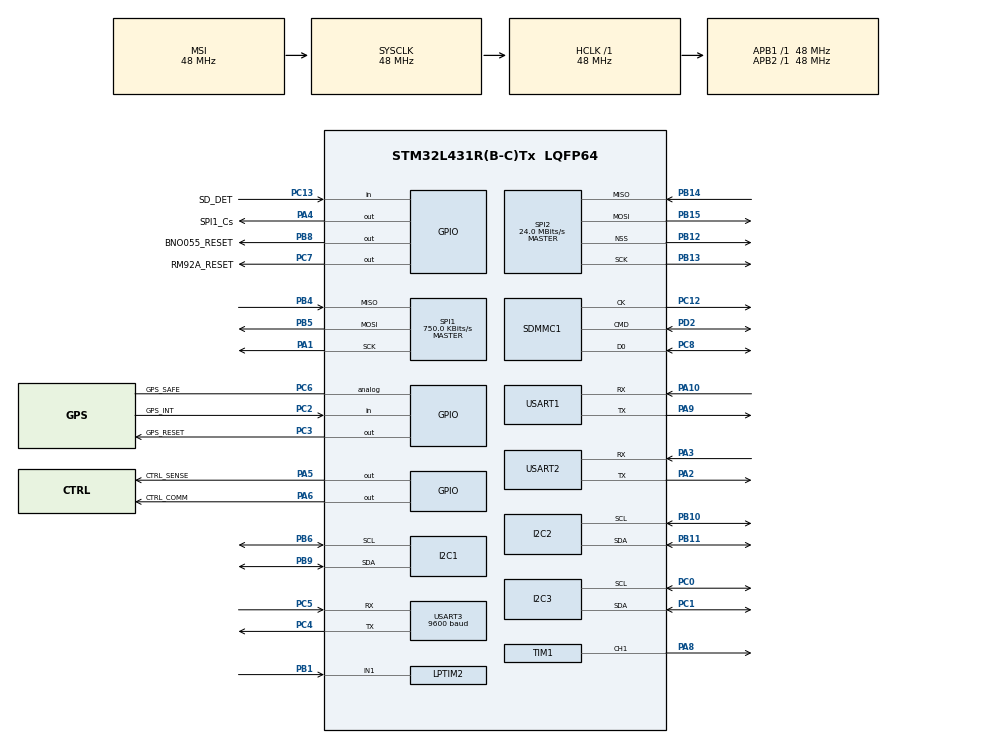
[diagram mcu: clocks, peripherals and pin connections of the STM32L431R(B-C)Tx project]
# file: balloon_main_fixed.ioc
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Dma.I2C1_RX.2.Direction=DMA_PERIPH_TO_MEMORY
Dma.I2C1_RX.2.Instance=DMA1_Channel7
Dma.I2C1_RX.2.MemDataAlignment=DMA_MDATAALIGN_BYTE
Dma.I2C1_RX.2.MemInc=DMA_MINC_ENABLE
Dma.I2C1_RX.2.Mode=DMA_NORMAL
Dma.I2C1_RX.2.PeriphDataAlignment=DMA_PDATAALIGN_BYTE
Dma.I2C1_RX.2.PeriphInc=DMA_PINC_DISABLE
Dma.I2C1_RX.2.Priority=DMA_PRIORITY_LOW
Dma.I2C1_TX.3.Direction=DMA_MEMORY_TO_PERIPH
Dma.I2C1_TX.3.Instance=DMA1_Channel6
Dma.I2C1_TX.3.MemDataAlignment=DMA_MDATAALIGN_BYTE
Dma.I2C1_TX.3.MemInc=DMA_MINC_ENABLE
Dma.I2C1_TX.3.Mode=DMA_NORMAL
Dma.I2C1_TX.3.PeriphDataAlignment=DMA_PDATAALIGN_BYTE
Dma.I2C1_TX.3.PeriphInc=DMA_PINC_DISABLE
Dma.I2C1_TX.3.Priority=DMA_PRIORITY_LOW
Dma.Request0=USART1_RX
Dma.Request1=USART1_TX
Dma.Request2=I2C1_RX
Dma.Request3=I2C1_TX
Dma.Request4=TIM1_CH1
Dma.Request5=USART3_RX
Dma.TIM1_CH1.4.Direction=DMA_MEMORY_TO_PERIPH
Dma.TIM1_CH1.4.Instance=DMA1_Channel2
Dma.TIM1_CH1.4.MemDataAlignment=DMA_MDATAALIGN_WORD
Dma.TIM1_CH1.4.MemInc=DMA_MINC_ENABLE
Dma.TIM1_CH1.4.Mode=DMA_CIRCULAR
Dma.TIM1_CH1.4.PeriphDataAlignment=DMA_PDATAALIGN_WORD
Dma.TIM1_CH1.4.PeriphInc=DMA_PINC_DISABLE
Dma.TIM1_CH1.4.Priority=DMA_PRIORITY_LOW
Dma.USART1_RX.0.Direction=DMA_PERIPH_TO_MEMORY
Dma.USART1_RX.0.Instance=DMA1_Channel5
Dma.USART1_RX.0.MemDataAlignment=DMA_MDATAALIGN_BYTE
Dma.USART1_RX.0.MemInc=DMA_MINC_ENABLE
Dma.USART1_RX.0.Mode=DMA_NORMAL
Dma.USART1_RX.0.PeriphDataAlignment=DMA_PDATAALIGN_BYTE
Dma.USART1_RX.0.PeriphInc=DMA_PINC_DISABLE
Dma.USART1_RX.0.Priority=DMA_PRIORITY_LOW
Dma.USART1_TX.1.Direction=DMA_MEMORY_TO_PERIPH
Dma.USART1_TX.1.Instance=DMA1_Channel4
Dma.USART1_TX.1.MemDataAlignment=DMA_MDATAALIGN_BYTE
Dma.USART1_TX.1.MemInc=DMA_MINC_ENABLE
Dma.USART1_TX.1.Mode=DMA_NORMAL
Dma.USART1_TX.1.PeriphDataAlignment=DMA_PDATAALIGN_BYTE
Dma.USART1_TX.1.PeriphInc=DMA_PINC_DISABLE
Dma.USART1_TX.1.Priority=DMA_PRIORITY_LOW
Dma.USART3_RX.5.Direction=DMA_PERIPH_TO_MEMORY
Dma.USART3_RX.5.Instance=DMA1_Channel3
Dma.USART3_RX.5.MemDataAlignment=DMA_MDATAALIGN_BYTE
Dma.USART3_RX.5.MemInc=DMA_MINC_ENABLE
Dma.USART3_RX.5.Mode=DMA_NORMAL
Dma.USART3_RX.5.PeriphDataAlignment=DMA_PDATAALIGN_BYTE
Dma.USART3_RX.5.PeriphInc=DMA_PINC_DISABLE
Dma.USART3_RX.5.Priority=DMA_PRIORITY_LOW
FATFS._MAX_SS=4096
I2C1.Timing=0x10805D88
I2C2.Timing=0x10805D88
I2C3.Timing=0x10805D88
Mcu.Family=STM32L4
Mcu.Name=STM32L431R(B-C)Tx
Mcu.Package=LQFP64
NVIC.DMA1_Channel2_IRQn=true\:0\:0\:false\:false\:true\:false\:true\:true
NVIC.DMA1_Channel3_IRQn=true\:0\:0\:false\:false\:true\:false\:true\:true
NVIC.DMA1_Channel4_IRQn=true\:0\:0\:false\:false\:true\:false\:true\:true
NVIC.DMA1_Channel5_IRQn=true\:0\:0\:false\:false\:true\:false\:true\:true
NVIC.DMA1_Channel6_IRQn=true\:0\:0\:false\:false\:true\:false\:true\:true
NVIC.DMA1_Channel7_IRQn=true\:0\:0\:false\:false\:true\:false\:true\:true
NVIC.I2C1_ER_IRQn=true\:0\:0\:false\:false\:true\:true\:true\:true
NVIC.PriorityGroup=NVIC_PRIORITYGROUP_4
NVIC.SDMMC1_IRQn=true\:5\:0\:true\:false\:true\:true\:true\:true
NVIC.TIM6_DAC_IRQn=true\:15\:0\:false\:false\:true\:false\:true\:true
NVIC.TimeBase=TIM6_DAC_IRQn
NVIC.TimeBaseIP=TIM6
NVIC.USART1_IRQn=true\:0\:0\:false\:false\:true\:true\:true\:true
NVIC.USART2_IRQn=true\:0\:0\:false\:false\:true\:true\:true\:true
NVIC.USART3_IRQn=true\:0\:0\:false\:false\:true\:true\:true\:true
PA1.GPIO_PuPd=GPIO_PULLUP
PA1.Mode=Full_Duplex_Master
PA1.Signal=SPI1_SCK
PA10.Mode=Asynchronous
PA10.Signal=USART1_RX
PA11.Signal=USART1_CTS
PA12.Signal=USART1_RTS
PA13\ (JTMS-SWDIO).Mode=Trace_Asynchronous_SW
PA13\ (JTMS-SWDIO).Signal=SYS_JTMS-SWDIO
PA14\ (JTCK-SWCLK).Mode=Trace_Asynchronous_SW
PA14\ (JTCK-SWCLK).Signal=SYS_JTCK-SWCLK
PA2.Mode=Asynchronous
PA2.Signal=USART2_TX
PA3.Mode=Asynchronous
PA3.Signal=USART2_RX
PA4.GPIO_Label=SPI1_Cs
PA4.Signal=GPIO_Output
PA5.GPIO_Label=CTRL_SENSE
PA5.Signal=GPIO_Output
PA6.GPIO_Label=CTRL_COMM
PA6.Signal=GPIO_Output
PA8.GPIO_Speed=GPIO_SPEED_FREQ_VERY_HIGH
PA8.Signal=S_TIM1_CH1
PA9.Mode=Asynchronous
PA9.Signal=USART1_TX
PB1.Mode=Counts_external_clock_standalone_1X_occur1
PB1.Signal=LPTIM2_IN1
PB10.Mode=I2C
PB10.Signal=I2C2_SCL
PB11.Mode=I2C
PB11.Signal=I2C2_SDA
PB12.Mode=NSS_Signal_Hard_Output
PB12.Signal=SPI2_NSS
PB13.Mode=Full_Duplex_Master
PB13.Signal=SPI2_SCK
PB14.Mode=Full_Duplex_Master
PB14.Signal=SPI2_MISO
PB15.Mode=Full_Duplex_Master
PB15.Signal=SPI2_MOSI
PB3\ (JTDO-TRACESWO).Mode=Trace_Asynchronous_SW
PB3\ (JTDO-TRACESWO).Signal=SYS_JTDO-SWO
PB4\ (NJTRST).GPIO_PuPd=GPIO_PULLUP
PB4\ (NJTRST).Mode=Full_Duplex_Master
PB4\ (NJTRST).Signal=SPI1_MISO
PB5.GPIO_PuPd=GPIO_PULLUP
PB5.Mode=Full_Duplex_Master
PB5.Signal=SPI1_MOSI
PB6.Mode=I2C
PB6.Signal=I2C1_SCL
PB8.GPIO_Label=BNO055_RESET
PB8.Signal=GPIO_Output
PB9.Mode=I2C
PB9.Signal=I2C1_SDA
PC0.Mode=I2C
PC0.Signal=I2C3_SCL
PC1.Mode=I2C
PC1.Signal=I2C3_SDA
PC10.Signal=SDMMC1_D2
PC11.Signal=SDMMC1_D3
PC12.Mode=SD_1_bit
PC12.Signal=SDMMC1_CK
PC13.GPIO_Label=SD_DET
PC13.Signal=GPIO_Input
PC14-OSC32_IN\ (PC14).Signal=RCC_OSC32_IN
PC15-OSC32_OUT\ (PC15).Signal=RCC_OSC32_OUT
PC2.GPIO_Label=GPS_INT
PC2.Signal=GPIO_Input
PC3.GPIO_Label=GPS_RESET
PC3.Signal=GPIO_Output
PC4.Mode=Asynchronous
PC4.Signal=USART3_TX
PC5.Mode=Asynchronous
PC5.Signal=USART3_RX
PC6.GPIO_Label=GPS_SAFE
PC6.Signal=GPIO_Analog
PC7.GPIO_Label=RM92A_RESET
PC7.Signal=GPIO_Output
PC8.Mode=SD_1_bit
PC8.Signal=SDMMC1_D0
PC9.Signal=SDMMC1_D1
PD2.Mode=SD_1_bit
PD2.Signal=SDMMC1_CMD
ProjectManager.HeapSize=0x400
ProjectManager.StackSize=0x800
ProjectManager.TargetToolchain=STM32CubeIDE
RCC.ADCFreq_Value=384000000
RCC.AHBFreq_Value=48000000
RCC.APB1Freq_Value=48000000
RCC.APB1TimFreq_Value=48000000
RCC.APB2Freq_Value=48000000
RCC.APB2TimFreq_Value=48000000
RCC.CK48CLockSelection=RCC_USBCLKSOURCE_HSI48
RCC.CortexFreq_Value=48000000
RCC.HCLKFreq_Value=48000000
RCC.HSE_VALUE=8000000
RCC.HSI48_VALUE=48000000
RCC.HSI_VALUE=16000000
RCC.LPUART1CLockSelection=RCC_LPUART1CLKSOURCE_LSE
RCC.LSE_VALUE=32768
RCC.MSIClockRange=RCC_MSIRANGE_11
RCC.MSI_VALUE=48000000
RCC.PLLN=40
RCC.PLLSAI1N=16
RCC.SYSCLKFreq_VALUE=48000000
RCC.VCOOutputFreq_Value=1920000000
RTC.Alarm-Alarm\ A=RTC_ALARM_A
SDMMC1.ClockDiv=50
SH.S_TIM1_CH1.0=TIM1_CH1,PWM Generation1 CH1
SPI1.BaudRatePrescaler=SPI_BAUDRATEPRESCALER_64
SPI1.CLKPhase=SPI_PHASE_2EDGE
SPI1.CLKPolarity=SPI_POLARITY_HIGH
SPI1.CalculateBaudRate=750.0 KBits/s
SPI1.DataSize=SPI_DATASIZE_8BIT
SPI1.Direction=SPI_DIRECTION_2LINES
SPI1.Mode=SPI_MODE_MASTER
SPI1.VirtualType=VM_MASTER
SPI2.CalculateBaudRate=24.0 MBits/s
SPI2.Direction=SPI_DIRECTION_2LINES
SPI2.Mode=SPI_MODE_MASTER
SPI2.VirtualNSS=VM_NSSHARD
SPI2.VirtualType=VM_MASTER
TIM1.AutoReloadPreload=TIM_AUTORELOAD_PRELOAD_ENABLE
TIM1.Channel-PWM\ Generation1\ CH1=TIM_CHANNEL_1
TIM1.OCFastMode_PWM-PWM\ Generation1\ CH1=TIM_OCFAST_DISABLE
TIM1.Period=60
TIM1.Prescaler=0
TIM1.TIM_MasterOutputTrigger=TIM_TRGO_OC1REF
TIM1.TIM_MasterSlaveMode=TIM_MASTERSLAVEMODE_ENABLE
USART1.VirtualMode-Asynchronous=VM_ASYNC
USART2.VirtualMode-Asynchronous=VM_ASYNC
USART3.AutoBaudRateEnableParam=UART_ADVFEATURE_AUTOBAUDRATE_DISABLE
USART3.BaudRate=9600
USART3.VirtualMode-Asynchronous=VM_ASYNC
VP_FATFS_VS_SDIO.Mode=SDIO
VP_RTC_VS_RTC_Activate.Mode=RTC_Enabled
VP_RTC_VS_RTC_Alarm_A_Intern.Mode=Alarm A
VP_RTC_VS_RTC_Calendar.Mode=RTC_Calendar
VP_SYS_VS_tim6.Mode=TIM6
VP_TIM1_VS_ClockSourceINT.Mode=Internal
board=custom

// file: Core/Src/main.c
/* USER CODE BEGIN Header */
/**
  ******************************************************************************
  * @file           : main.c
  * @brief          : Main program body
  ******************************************************************************
  * @attention
  *
  * Copyright (c) 2024 STMicroelectronics.
  * All rights reserved.
  *
  * This software is licensed under terms that can be found in the LICENSE file
  * in the root directory of this software component.
  * If no LICENSE file comes with this software, it is provided AS-IS.
  *
  ******************************************************************************
  */
/* USER CODE END Header */
#include "main.h"
#include "fatfs.h"

/* USER CODE BEGIN Includes */
#include <stdio.h>
#include "sd/sd.h"
#include "power/power.h"
#include "gnss/gnss.h"
#include "misc.h"
#include "env/env.h"
#include "lora/lora.h"
#include "led/led.h"
/* USER CODE END Includes */

/* USER CODE BEGIN PD */
#define SDMMC_DATATIMEOUT 5000
/* USER CODE END PD */

I2C_HandleTypeDef hi2c1;
I2C_HandleTypeDef hi2c2;
I2C_HandleTypeDef hi2c3;
DMA_HandleTypeDef hdma_i2c1_rx;
DMA_HandleTypeDef hdma_i2c1_tx;

LPTIM_HandleTypeDef hlptim2;

RTC_HandleTypeDef hrtc;

SD_HandleTypeDef hsd1;

SPI_HandleTypeDef hspi1;
SPI_HandleTypeDef hspi2;

TIM_HandleTypeDef htim1;
DMA_HandleTypeDef hdma_tim1_ch1;

UART_HandleTypeDef huart1;
UART_HandleTypeDef huart2;
UART_HandleTypeDef huart3;
DMA_HandleTypeDef hdma_usart1_rx;
DMA_HandleTypeDef hdma_usart1_tx;
DMA_HandleTypeDef hdma_usart3_rx;

/* USER CODE BEGIN PV */
uint8_t byte_uart_1;
uint8_t byte_uart_2;
uint8_t byte_uart_3;
extern gnss_data_t gnss_data;
extern env_data_t env_data;
int data_update = 0;
int last_down = 0;
int last_env = 0;
uint8_t put_txt[1024];
/* USER CODE END PV */

void SystemClock_Config(void);
static void MX_GPIO_Init(void);
static void MX_DMA_Init(void);
static void MX_I2C1_Init(void);
static void MX_USART1_UART_Init(void);
static void MX_RTC_Init(void);
static void MX_SDMMC1_SD_Init(void);
static void MX_LPTIM2_Init(void);
static void MX_I2C2_Init(void);
static void MX_I2C3_Init(void);
static void MX_SPI1_Init(void);
static void MX_SPI2_Init(void);
static void MX_TIM1_Init(void);
static void MX_USART3_UART_Init(void);
static void MX_USART2_UART_Init(void);

int main(void)
{

  /* MCU Configuration--------------------------------------------------------*/

  /* Reset of all peripherals, Initializes the Flash interface and the Systick. */
  HAL_Init();

  /* Configure the system clock */
  SystemClock_Config();

  /* Initialize all configured peripherals */
  MX_GPIO_Init();
  MX_DMA_Init();
  MX_I2C1_Init();
  MX_USART1_UART_Init();
  MX_RTC_Init();
  MX_SDMMC1_SD_Init();
  MX_LPTIM2_Init();
  MX_I2C2_Init();
  MX_I2C3_Init();
  MX_SPI1_Init();
  MX_SPI2_Init();
  MX_TIM1_Init();
  MX_USART3_UART_Init();
  MX_USART2_UART_Init();
  MX_FATFS_Init();
  /* USER CODE BEGIN 2 */
	reset_sense_power();
	HAL_UART_Receive_IT(&huart1, &byte_uart_1, 1);
	HAL_UART_Receive_IT(&huart2, &byte_uart_2, 1);
	HAL_UART_Receive_IT(&huart3, &byte_uart_3, 1);
	///HAL_IWDG_Refresh(&hiwdg);

	init_led();
	led_setcolor(255,255,0,0);
	HAL_Delay(1000);
	led_setcolor(0,255,255,0);

	led_setcolor(0,255,0,1);

	init_sd();

	led_setcolor(255,0,0,1);
	///HAL_IWDG_Refresh(&hiwdg);
	gnss_init();

	led_setcolor(0,255,0,1);
	lora_init();

	led_setcolor(0,0,255,1);
	///HAL_IWDG_Refresh(&hiwdg);
  /* USER CODE END 2 */

  /* Infinite loop */
  /* USER CODE BEGIN WHILE */
  while (1)
  {
	  led_setcolor(255,0,0,0);
	  if(HAL_GetTick() - last_down > 3000){
		  led_setcolor(0,0,255,0);
		  last_down = HAL_GetTick();
		  size_t written = sprintf(&put_txt, "%ld, %f, %f, %d.%d, %d.%d, %ld, %d.%d, %d.%d, %d.%d \r\n",
		  				  gnss_data.recent_timestamp,
		  				  minmea_tocoord(&gnss_data.gga.latitude),
		  				  minmea_tocoord(&gnss_data.gga.longitude),
		  				  PSEUDO_FLOAT_PRINT(minmea_tofloat(&gnss_data.gga.altitude), 100),
		  				  PSEUDO_FLOAT_PRINT(minmea_tofloat(&gnss_data.gsa.hdop), 100),
		  				  env_data.timestamp,
		  				  PSEUDO_FLOAT_PRINT(env_data.temp, 100),
		  				  PSEUDO_FLOAT_PRINT(env_data.hum, 100),
		  				  PSEUDO_FLOAT_PRINT(env_data.press, 100));
		  printf("lora:");
		  lora_send(put_txt, written);
		  for(int i = 0; i < written; i++){
				printf("%c", put_txt[i]);
		  }
		  printf("\r\n");

	  }
	  if(HAL_GetTick() - last_env > 100){
		  last_env = HAL_GetTick();
		  if(read_env_data() == -1)
		  {
			  data_update |= 1;
		  }
	  }
	  if(data_update){
		  led_setcolor(0,255,0,0);
		  data_update = 0;
		  size_t written = sprintf(&put_txt, "%ld, %f, %f, %d.%d, %d.%d, %ld, %d.%d, %d.%d, %d.%d \r\n",
		  		  				  gnss_data.recent_timestamp,
		  		  				  minmea_tocoord(&gnss_data.gga.latitude),
		  		  				  minmea_tocoord(&gnss_data.gga.longitude),
		  		  				  PSEUDO_FLOAT_PRINT(minmea_tofloat(&gnss_data.gga.altitude), 100),
		  		  				  PSEUDO_FLOAT_PRINT(minmea_tofloat(&gnss_data.gsa.hdop), 100),
		  		  				  env_data.timestamp,
		  		  				  PSEUDO_FLOAT_PRINT(env_data.temp, 100),
		  		  				  PSEUDO_FLOAT_PRINT(env_data.hum, 100),
		  		  				  PSEUDO_FLOAT_PRINT(env_data.press, 100));
		  printf("sd:");
		  write_line(put_txt, written);
		  for(int i = 0; i < written; i++){
				printf("%c", put_txt[i]);
		  }
		  printf("\r\n");

	  }
    /* USER CODE END WHILE */

  }
}

void SystemClock_Config(void)
{
  RCC_OscInitTypeDef RCC_OscInitStruct = {0};
  RCC_ClkInitTypeDef RCC_ClkInitStruct = {0};

  /** Configure the main internal regulator output voltage
  */
  if (HAL_PWREx_ControlVoltageScaling(PWR_REGULATOR_VOLTAGE_SCALE1) != HAL_OK)
  {
    Error_Handler();
  }

  /** Initializes the RCC Oscillators according to the specified parameters
  * in the RCC_OscInitTypeDef structure.
  */
  RCC_OscInitStruct.OscillatorType = RCC_OSCILLATORTYPE_HSI48|RCC_OSCILLATORTYPE_LSI
                              |RCC_OSCILLATORTYPE_MSI;
  RCC_OscInitStruct.HSI48State = RCC_HSI48_ON;
  RCC_OscInitStruct.LSIState = RCC_LSI_ON;
  RCC_OscInitStruct.MSIState = RCC_MSI_ON;
  RCC_OscInitStruct.MSICalibrationValue = 0;
  RCC_OscInitStruct.MSIClockRange = RCC_MSIRANGE_11;
  RCC_OscInitStruct.PLL.PLLState = RCC_PLL_NONE;
  if (HAL_RCC_OscConfig(&RCC_OscInitStruct) != HAL_OK)
  {
    Error_Handler();
  }

  /** Initializes the CPU, AHB and APB buses clocks
  */
  RCC_ClkInitStruct.ClockType = RCC_CLOCKTYPE_HCLK|RCC_CLOCKTYPE_SYSCLK
                              |RCC_CLOCKTYPE_PCLK1|RCC_CLOCKTYPE_PCLK2;
  RCC_ClkInitStruct.SYSCLKSource = RCC_SYSCLKSOURCE_MSI;
  RCC_ClkInitStruct.AHBCLKDivider = RCC_SYSCLK_DIV1;
  RCC_ClkInitStruct.APB1CLKDivider = RCC_HCLK_DIV1;
  RCC_ClkInitStruct.APB2CLKDivider = RCC_HCLK_DIV1;

  if (HAL_RCC_ClockConfig(&RCC_ClkInitStruct, FLASH_LATENCY_2) != HAL_OK)
  {
    Error_Handler();
  }
}

static void MX_I2C1_Init(void)
{

  hi2c1.Instance = I2C1;
  hi2c1.Init.Timing = 0x10805D88;
  hi2c1.Init.OwnAddress1 = 0;
  hi2c1.Init.AddressingMode = I2C_ADDRESSINGMODE_7BIT;
  hi2c1.Init.DualAddressMode = I2C_DUALADDRESS_DISABLE;
  hi2c1.Init.OwnAddress2 = 0;
  hi2c1.Init.OwnAddress2Masks = I2C_OA2_NOMASK;
  hi2c1.Init.GeneralCallMode = I2C_GENERALCALL_DISABLE;
  hi2c1.Init.NoStretchMode = I2C_NOSTRETCH_DISABLE;
  if (HAL_I2C_Init(&hi2c1) != HAL_OK)
  {
    Error_Handler();
  }

  /** Configure Analogue filter
  */
  if (HAL_I2CEx_ConfigAnalogFilter(&hi2c1, I2C_ANALOGFILTER_ENABLE) != HAL_OK)
  {
    Error_Handler();
  }

  /** Configure Digital filter
  */
  if (HAL_I2CEx_ConfigDigitalFilter(&hi2c1, 0) != HAL_OK)
  {
    Error_Handler();
  }

}

static void MX_I2C2_Init(void)
{

  hi2c2.Instance = I2C2;
  hi2c2.Init.Timing = 0x10805D88;
  hi2c2.Init.OwnAddress1 = 0;
  hi2c2.Init.AddressingMode = I2C_ADDRESSINGMODE_7BIT;
  hi2c2.Init.DualAddressMode = I2C_DUALADDRESS_DISABLE;
  hi2c2.Init.OwnAddress2 = 0;
  hi2c2.Init.OwnAddress2Masks = I2C_OA2_NOMASK;
  hi2c2.Init.GeneralCallMode = I2C_GENERALCALL_DISABLE;
  hi2c2.Init.NoStretchMode = I2C_NOSTRETCH_DISABLE;
  if (HAL_I2C_Init(&hi2c2) != HAL_OK)
  {
    Error_Handler();
  }

  /** Configure Analogue filter
  */
  if (HAL_I2CEx_ConfigAnalogFilter(&hi2c2, I2C_ANALOGFILTER_ENABLE) != HAL_OK)
  {
    Error_Handler();
  }

  /** Configure Digital filter
  */
  if (HAL_I2CEx_ConfigDigitalFilter(&hi2c2, 0) != HAL_OK)
  {
    Error_Handler();
  }

}

static void MX_I2C3_Init(void)
{

  hi2c3.Instance = I2C3;
  hi2c3.Init.Timing = 0x10805D88;
  hi2c3.Init.OwnAddress1 = 0;
  hi2c3.Init.AddressingMode = I2C_ADDRESSINGMODE_7BIT;
  hi2c3.Init.DualAddressMode = I2C_DUALADDRESS_DISABLE;
  hi2c3.Init.OwnAddress2 = 0;
  hi2c3.Init.OwnAddress2Masks = I2C_OA2_NOMASK;
  hi2c3.Init.GeneralCallMode = I2C_GENERALCALL_DISABLE;
  hi2c3.Init.NoStretchMode = I2C_NOSTRETCH_DISABLE;
  if (HAL_I2C_Init(&hi2c3) != HAL_OK)
  {
    Error_Handler();
  }

  /** Configure Analogue filter
  */
  if (HAL_I2CEx_ConfigAnalogFilter(&hi2c3, I2C_ANALOGFILTER_ENABLE) != HAL_OK)
  {
    Error_Handler();
  }

  /** Configure Digital filter
  */
  if (HAL_I2CEx_ConfigDigitalFilter(&hi2c3, 0) != HAL_OK)
  {
    Error_Handler();
  }

}

static void MX_LPTIM2_Init(void)
{

  hlptim2.Instance = LPTIM2;
  hlptim2.Init.Clock.Source = LPTIM_CLOCKSOURCE_ULPTIM;
  hlptim2.Init.Clock.Prescaler = LPTIM_PRESCALER_DIV1;
  hlptim2.Init.UltraLowPowerClock.Polarity = LPTIM_CLOCKPOLARITY_RISING;
  hlptim2.Init.UltraLowPowerClock.SampleTime = LPTIM_CLOCKSAMPLETIME_DIRECTTRANSITION;
  hlptim2.Init.Trigger.Source = LPTIM_TRIGSOURCE_SOFTWARE;
  hlptim2.Init.OutputPolarity = LPTIM_OUTPUTPOLARITY_HIGH;
  hlptim2.Init.UpdateMode = LPTIM_UPDATE_IMMEDIATE;
  hlptim2.Init.CounterSource = LPTIM_COUNTERSOURCE_EXTERNAL;
  hlptim2.Init.Input1Source = LPTIM_INPUT1SOURCE_GPIO;
  hlptim2.Init.Input2Source = LPTIM_INPUT2SOURCE_GPIO;
  if (HAL_LPTIM_Init(&hlptim2) != HAL_OK)
  {
    Error_Handler();
  }

}

static void MX_RTC_Init(void)
{

  RTC_TimeTypeDef sTime = {0};
  RTC_DateTypeDef sDate = {0};
  RTC_AlarmTypeDef sAlarm = {0};

  /** Initialize RTC Only
  */
  hrtc.Instance = RTC;
  hrtc.Init.HourFormat = RTC_HOURFORMAT_24;
  hrtc.Init.AsynchPrediv = 127;
  hrtc.Init.SynchPrediv = 255;
  hrtc.Init.OutPut = RTC_OUTPUT_DISABLE;
  hrtc.Init.OutPutRemap = RTC_OUTPUT_REMAP_NONE;
  hrtc.Init.OutPutPolarity = RTC_OUTPUT_POLARITY_HIGH;
  hrtc.Init.OutPutType = RTC_OUTPUT_TYPE_OPENDRAIN;
  if (HAL_RTC_Init(&hrtc) != HAL_OK)
  {
    Error_Handler();
  }

  /** Initialize RTC and set the Time and Date
  */
  sTime.Hours = 0x0;
  sTime.Minutes = 0x0;
  sTime.Seconds = 0x0;
  sTime.DayLightSaving = RTC_DAYLIGHTSAVING_NONE;
  sTime.StoreOperation = RTC_STOREOPERATION_RESET;
  if (HAL_RTC_SetTime(&hrtc, &sTime, RTC_FORMAT_BCD) != HAL_OK)
  {
    Error_Handler();
  }
  sDate.WeekDay = RTC_WEEKDAY_MONDAY;
  sDate.Month = RTC_MONTH_JANUARY;
  sDate.Date = 0x1;
  sDate.Year = 0x0;

  if (HAL_RTC_SetDate(&hrtc, &sDate, RTC_FORMAT_BCD) != HAL_OK)
  {
    Error_Handler();
  }

  /** Enable the Alarm A
  */
  sAlarm.AlarmTime.Hours = 0x0;
  sAlarm.AlarmTime.Minutes = 0x0;
  sAlarm.AlarmTime.Seconds = 0x0;
  sAlarm.AlarmTime.SubSeconds = 0x0;
  sAlarm.AlarmTime.DayLightSaving = RTC_DAYLIGHTSAVING_NONE;
  sAlarm.AlarmTime.StoreOperation = RTC_STOREOPERATION_RESET;
  sAlarm.AlarmMask = RTC_ALARMMASK_NONE;
  sAlarm.AlarmSubSecondMask = RTC_ALARMSUBSECONDMASK_ALL;
  sAlarm.AlarmDateWeekDaySel = RTC_ALARMDATEWEEKDAYSEL_DATE;
  sAlarm.AlarmDateWeekDay = 0x1;
  sAlarm.Alarm = RTC_ALARM_A;
  if (HAL_RTC_SetAlarm(&hrtc, &sAlarm, RTC_FORMAT_BCD) != HAL_OK)
  {
    Error_Handler();
  }

}

static void MX_SDMMC1_SD_Init(void)
{

  hsd1.Instance = SDMMC1;
  hsd1.Init.ClockEdge = SDMMC_CLOCK_EDGE_RISING;
  hsd1.Init.ClockBypass = SDMMC_CLOCK_BYPASS_DISABLE;
  hsd1.Init.ClockPowerSave = SDMMC_CLOCK_POWER_SAVE_DISABLE;
  hsd1.Init.BusWide = SDMMC_BUS_WIDE_1B;
  hsd1.Init.HardwareFlowControl = SDMMC_HARDWARE_FLOW_CONTROL_DISABLE;
  hsd1.Init.ClockDiv = 50;

}

static void MX_SPI1_Init(void)
{

  /* SPI1 parameter configuration*/
  hspi1.Instance = SPI1;
  hspi1.Init.Mode = SPI_MODE_MASTER;
  hspi1.Init.Direction = SPI_DIRECTION_2LINES;
  hspi1.Init.DataSize = SPI_DATASIZE_8BIT;
  hspi1.Init.CLKPolarity = SPI_POLARITY_HIGH;
  hspi1.Init.CLKPhase = SPI_PHASE_2EDGE;
  hspi1.Init.NSS = SPI_NSS_SOFT;
  hspi1.Init.BaudRatePrescaler = SPI_BAUDRATEPRESCALER_64;
  hspi1.Init.FirstBit = SPI_FIRSTBIT_MSB;
  hspi1.Init.TIMode = SPI_TIMODE_DISABLE;
  hspi1.Init.CRCCalculation = SPI_CRCCALCULATION_DISABLE;
  hspi1.Init.CRCPolynomial = 7;
  hspi1.Init.CRCLength = SPI_CRC_LENGTH_DATASIZE;
  hspi1.Init.NSSPMode = SPI_NSS_PULSE_DISABLE;
  if (HAL_SPI_Init(&hspi1) != HAL_OK)
  {
    Error_Handler();
  }

}

static void MX_SPI2_Init(void)
{

  /* SPI2 parameter configuration*/
  hspi2.Instance = SPI2;
  hspi2.Init.Mode = SPI_MODE_MASTER;
  hspi2.Init.Direction = SPI_DIRECTION_2LINES;
  hspi2.Init.DataSize = SPI_DATASIZE_4BIT;
  hspi2.Init.CLKPolarity = SPI_POLARITY_LOW;
  hspi2.Init.CLKPhase = SPI_PHASE_1EDGE;
  hspi2.Init.NSS = SPI_NSS_HARD_OUTPUT;
  hspi2.Init.BaudRatePrescaler = SPI_BAUDRATEPRESCALER_2;
  hspi2.Init.FirstBit = SPI_FIRSTBIT_MSB;
  hspi2.Init.TIMode = SPI_TIMODE_DISABLE;
  hspi2.Init.CRCCalculation = SPI_CRCCALCULATION_DISABLE;
  hspi2.Init.CRCPolynomial = 7;
  hspi2.Init.CRCLength = SPI_CRC_LENGTH_DATASIZE;
  hspi2.Init.NSSPMode = SPI_NSS_PULSE_ENABLE;
  if (HAL_SPI_Init(&hspi2) != HAL_OK)
  {
    Error_Handler();
  }

}

static void MX_TIM1_Init(void)
{

  TIM_ClockConfigTypeDef sClockSourceConfig = {0};
  TIM_MasterConfigTypeDef sMasterConfig = {0};
  TIM_OC_InitTypeDef sConfigOC = {0};
  TIM_BreakDeadTimeConfigTypeDef sBreakDeadTimeConfig = {0};

  htim1.Instance = TIM1;
  htim1.Init.Prescaler = 0;
  htim1.Init.CounterMode = TIM_COUNTERMODE_UP;
  htim1.Init.Period = 60;
  htim1.Init.ClockDivision = TIM_CLOCKDIVISION_DIV1;
  htim1.Init.RepetitionCounter = 0;
  htim1.Init.AutoReloadPreload = TIM_AUTORELOAD_PRELOAD_ENABLE;
  if (HAL_TIM_Base_Init(&htim1) != HAL_OK)
  {
    Error_Handler();
  }
  sClockSourceConfig.ClockSource = TIM_CLOCKSOURCE_INTERNAL;
  if (HAL_TIM_ConfigClockSource(&htim1, &sClockSourceConfig) != HAL_OK)
  {
    Error_Handler();
  }
  if (HAL_TIM_PWM_Init(&htim1) != HAL_OK)
  {
    Error_Handler();
  }
  sMasterConfig.MasterOutputTrigger = TIM_TRGO_OC1REF;
  sMasterConfig.MasterOutputTrigger2 = TIM_TRGO2_RESET;
  sMasterConfig.MasterSlaveMode = TIM_MASTERSLAVEMODE_ENABLE;
  if (HAL_TIMEx_MasterConfigSynchronization(&htim1, &sMasterConfig) != HAL_OK)
  {
    Error_Handler();
  }
  sConfigOC.OCMode = TIM_OCMODE_PWM1;
  sConfigOC.Pulse = 0;
  sConfigOC.OCPolarity = TIM_OCPOLARITY_HIGH;
  sConfigOC.OCNPolarity = TIM_OCNPOLARITY_HIGH;
  sConfigOC.OCFastMode = TIM_OCFAST_DISABLE;
  sConfigOC.OCIdleState = TIM_OCIDLESTATE_RESET;
  sConfigOC.OCNIdleState = TIM_OCNIDLESTATE_RESET;
  if (HAL_TIM_PWM_ConfigChannel(&htim1, &sConfigOC, TIM_CHANNEL_1) != HAL_OK)
  {
    Error_Handler();
  }
  sBreakDeadTimeConfig.OffStateRunMode = TIM_OSSR_DISABLE;
  sBreakDeadTimeConfig.OffStateIDLEMode = TIM_OSSI_DISABLE;
  sBreakDeadTimeConfig.LockLevel = TIM_LOCKLEVEL_OFF;
  sBreakDeadTimeConfig.DeadTime = 0;
  sBreakDeadTimeConfig.BreakState = TIM_BREAK_DISABLE;
  sBreakDeadTimeConfig.BreakPolarity = TIM_BREAKPOLARITY_HIGH;
  sBreakDeadTimeConfig.BreakFilter = 0;
  sBreakDeadTimeConfig.Break2State = TIM_BREAK2_DISABLE;
  sBreakDeadTimeConfig.Break2Polarity = TIM_BREAK2POLARITY_HIGH;
  sBreakDeadTimeConfig.Break2Filter = 0;
  sBreakDeadTimeConfig.AutomaticOutput = TIM_AUTOMATICOUTPUT_DISABLE;
  if (HAL_TIMEx_ConfigBreakDeadTime(&htim1, &sBreakDeadTimeConfig) != HAL_OK)
  {
    Error_Handler();
  }
  HAL_TIM_MspPostInit(&htim1);

}

static void MX_USART1_UART_Init(void)
{

  huart1.Instance = USART1;
  huart1.Init.BaudRate = 115200;
  huart1.Init.WordLength = UART_WORDLENGTH_8B;
  huart1.Init.StopBits = UART_STOPBITS_1;
  huart1.Init.Parity = UART_PARITY_NONE;
  huart1.Init.Mode = UART_MODE_TX_RX;
  huart1.Init.HwFlowCtl = UART_HWCONTROL_NONE;
  huart1.Init.OverSampling = UART_OVERSAMPLING_16;
  huart1.Init.OneBitSampling = UART_ONE_BIT_SAMPLE_DISABLE;
  huart1.AdvancedInit.AdvFeatureInit = UART_ADVFEATURE_NO_INIT;
  if (HAL_UART_Init(&huart1) != HAL_OK)
  {
    Error_Handler();
  }

}

static void MX_USART2_UART_Init(void)
{

  huart2.Instance = USART2;
  huart2.Init.BaudRate = 115200;
  huart2.Init.WordLength = UART_WORDLENGTH_8B;
  huart2.Init.StopBits = UART_STOPBITS_1;
  huart2.Init.Parity = UART_PARITY_NONE;
  huart2.Init.Mode = UART_MODE_TX_RX;
  huart2.Init.HwFlowCtl = UART_HWCONTROL_NONE;
  huart2.Init.OverSampling = UART_OVERSAMPLING_16;
  huart2.Init.OneBitSampling = UART_ONE_BIT_SAMPLE_DISABLE;
  huart2.AdvancedInit.AdvFeatureInit = UART_ADVFEATURE_NO_INIT;
  if (HAL_UART_Init(&huart2) != HAL_OK)
  {
    Error_Handler();
  }

}

static void MX_USART3_UART_Init(void)
{

  huart3.Instance = USART3;
  huart3.Init.BaudRate = 9600;
  huart3.Init.WordLength = UART_WORDLENGTH_8B;
  huart3.Init.StopBits = UART_STOPBITS_1;
  huart3.Init.Parity = UART_PARITY_NONE;
  huart3.Init.Mode = UART_MODE_TX_RX;
  huart3.Init.HwFlowCtl = UART_HWCONTROL_NONE;
  huart3.Init.OverSampling = UART_OVERSAMPLING_16;
  huart3.Init.OneBitSampling = UART_ONE_BIT_SAMPLE_DISABLE;
  huart3.AdvancedInit.AdvFeatureInit = UART_ADVFEATURE_NO_INIT;
  if (HAL_UART_Init(&huart3) != HAL_OK)
  {
    Error_Handler();
  }

}

static void MX_DMA_Init(void)
{

  /* DMA controller clock enable */
  __HAL_RCC_DMA1_CLK_ENABLE();

  /* DMA interrupt init */
  /* DMA1_Channel2_IRQn interrupt configuration */
  HAL_NVIC_SetPriority(DMA1_Channel2_IRQn, 0, 0);
  HAL_NVIC_EnableIRQ(DMA1_Channel2_IRQn);
  /* DMA1_Channel3_IRQn interrupt configuration */
  HAL_NVIC_SetPriority(DMA1_Channel3_IRQn, 0, 0);
  HAL_NVIC_EnableIRQ(DMA1_Channel3_IRQn);
  /* DMA1_Channel4_IRQn interrupt configuration */
  HAL_NVIC_SetPriority(DMA1_Channel4_IRQn, 0, 0);
  HAL_NVIC_EnableIRQ(DMA1_Channel4_IRQn);
  /* DMA1_Channel5_IRQn interrupt configuration */
  HAL_NVIC_SetPriority(DMA1_Channel5_IRQn, 0, 0);
  HAL_NVIC_EnableIRQ(DMA1_Channel5_IRQn);
  /* DMA1_Channel6_IRQn interrupt configuration */
  HAL_NVIC_SetPriority(DMA1_Channel6_IRQn, 0, 0);
  HAL_NVIC_EnableIRQ(DMA1_Channel6_IRQn);
  /* DMA1_Channel7_IRQn interrupt configuration */
  HAL_NVIC_SetPriority(DMA1_Channel7_IRQn, 0, 0);
  HAL_NVIC_EnableIRQ(DMA1_Channel7_IRQn);

}

static void MX_GPIO_Init(void)
{
  GPIO_InitTypeDef GPIO_InitStruct = {0};

  /* GPIO Ports Clock Enable */
  __HAL_RCC_GPIOC_CLK_ENABLE();
  __HAL_RCC_GPIOA_CLK_ENABLE();
  __HAL_RCC_GPIOB_CLK_ENABLE();
  __HAL_RCC_GPIOD_CLK_ENABLE();

  /*Configure GPIO pin Output Level */
  HAL_GPIO_WritePin(GPIOC, GPS_RESET_Pin|RM92A_RESET_Pin, GPIO_PIN_RESET);

  /*Configure GPIO pin Output Level */
  HAL_GPIO_WritePin(GPIOA, SPI1_Cs_Pin|CTRL_SENSE_Pin|CTRL_COMM_Pin, GPIO_PIN_RESET);

  /*Configure GPIO pin Output Level */
  HAL_GPIO_WritePin(BNO055_RESET_GPIO_Port, BNO055_RESET_Pin, GPIO_PIN_RESET);

  /*Configure GPIO pins : SD_DET_Pin GPS_INT_Pin */
  GPIO_InitStruct.Pin = SD_DET_Pin|GPS_INT_Pin;
  GPIO_InitStruct.Mode = GPIO_MODE_INPUT;
  GPIO_InitStruct.Pull = GPIO_NOPULL;
  HAL_GPIO_Init(GPIOC, &GPIO_InitStruct);

  /*Configure GPIO pins : GPS_RESET_Pin RM92A_RESET_Pin */
  GPIO_InitStruct.Pin = GPS_RESET_Pin|RM92A_RESET_Pin;
  GPIO_InitStruct.Mode = GPIO_MODE_OUTPUT_PP;
  GPIO_InitStruct.Pull = GPIO_NOPULL;
  GPIO_InitStruct.Speed = GPIO_SPEED_FREQ_LOW;
  HAL_GPIO_Init(GPIOC, &GPIO_InitStruct);

  /*Configure GPIO pins : SPI1_Cs_Pin CTRL_SENSE_Pin CTRL_COMM_Pin */
  GPIO_InitStruct.Pin = SPI1_Cs_Pin|CTRL_SENSE_Pin|CTRL_COMM_Pin;
  GPIO_InitStruct.Mode = GPIO_MODE_OUTPUT_PP;
  GPIO_InitStruct.Pull = GPIO_NOPULL;
  GPIO_InitStruct.Speed = GPIO_SPEED_FREQ_LOW;
  HAL_GPIO_Init(GPIOA, &GPIO_InitStruct);

  /*Configure GPIO pin : GPS_SAFE_Pin */
  GPIO_InitStruct.Pin = GPS_SAFE_Pin;
  GPIO_InitStruct.Mode = GPIO_MODE_ANALOG;
  GPIO_InitStruct.Pull = GPIO_NOPULL;
  HAL_GPIO_Init(GPS_SAFE_GPIO_Port, &GPIO_InitStruct);

  /*Configure GPIO pin : BNO055_RESET_Pin */
  GPIO_InitStruct.Pin = BNO055_RESET_Pin;
  GPIO_InitStruct.Mode = GPIO_MODE_OUTPUT_PP;
  GPIO_InitStruct.Pull = GPIO_NOPULL;
  GPIO_InitStruct.Speed = GPIO_SPEED_FREQ_LOW;
  HAL_GPIO_Init(BNO055_RESET_GPIO_Port, &GPIO_InitStruct);

}

/* USER CODE BEGIN 4 */
int _write(int file, char *ptr, int len)
{
  int DataIdx;
  for(DataIdx=0; DataIdx<len; DataIdx++)
  {
    ITM_SendChar(*ptr++);
  }
  return len;
}
void HAL_UART_RxCpltCallback(UART_HandleTypeDef *huart)
{
	if (huart->Instance == USART1)
	{
		printf("%c", byte_uart_1);
		HAL_UART_Receive_IT(huart, &byte_uart_1, 1);
	}
	if (huart->Instance == USART2)
	{
		HAL_UART_Receive_IT(huart, &byte_uart_2, 1);
	}
	if (huart->Instance == USART3)
	{
		///printf("%x", byte_uart_3);
		if(feed_nmea(byte_uart_3) == 0)
		{
			data_update |= 1;
		}
		HAL_UART_Receive_IT(huart, &byte_uart_3, 1);
	}
}

/* USER CODE END 4 */

void HAL_TIM_PeriodElapsedCallback(TIM_HandleTypeDef *htim)
{
  if (htim->Instance == TIM6) {
    HAL_IncTick();
  }
}

void Error_Handler(void)
{
  __disable_irq();
  while (1)
  {
  }
}
